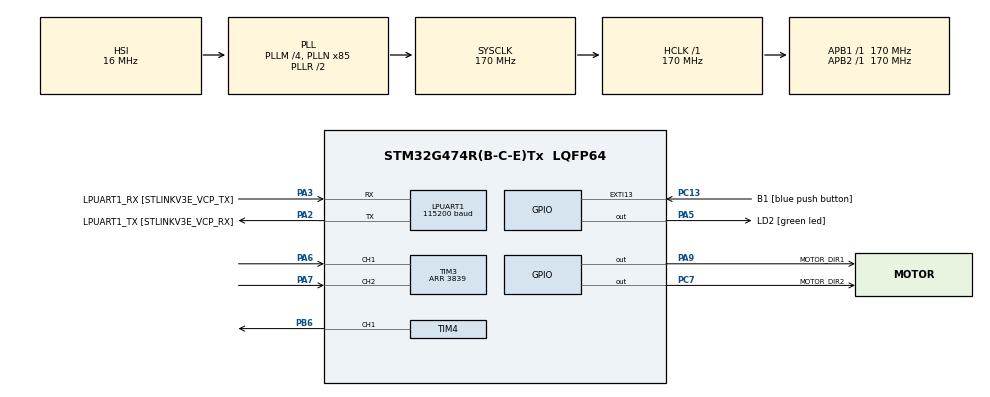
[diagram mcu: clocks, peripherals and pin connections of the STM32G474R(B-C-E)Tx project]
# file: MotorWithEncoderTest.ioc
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LPUART1.BaudRate=115200
Mcu.Family=STM32G4
Mcu.Name=STM32G474R(B-C-E)Tx
Mcu.Package=LQFP64
NVIC.EXTI15_10_IRQn=true\:0\:0\:false\:false\:true\:true\:true\:true
NVIC.PriorityGroup=NVIC_PRIORITYGROUP_4
NVIC.TIM1_UP_TIM16_IRQn=true\:0\:0\:false\:true\:true\:1\:true\:true\:true
PA13.GPIO_Label=T_SWDIO
PA13.Mode=Serial_Wire
PA13.Signal=SYS_JTMS-SWDIO
PA14.GPIO_Label=T_SWCLK
PA14.Mode=Serial_Wire
PA14.Signal=SYS_JTCK-SWCLK
PA2.GPIO_Label=LPUART1_TX [STLINKV3E_VCP_RX]
PA2.Mode=Asynchronous
PA2.Signal=LPUART1_TX
PA3.GPIO_Label=LPUART1_RX [STLINKV3E_VCP_TX]
PA3.Mode=Asynchronous
PA3.Signal=LPUART1_RX
PA5.GPIO_Label=LD2 [green led]
PA5.Signal=GPIO_Output
PA6.Signal=S_TIM3_CH1
PA7.Signal=S_TIM3_CH2
PA9.GPIO_Label=MOTOR_DIR1
PA9.Signal=GPIO_Output
PB3.GPIO_Label=T_SWO
PB3.Signal=SYS_JTDO-SWO
PB6.Signal=S_TIM4_CH1
PC13.GPIO_Label=B1 [blue push button]
PC13.Signal=GPXTI13
PC14-OSC32_IN.GPIO_Label=RCC_OSC32_IN
PC14-OSC32_IN.Mode=LSE-External-Oscillator
PC14-OSC32_IN.Signal=RCC_OSC32_IN
PC15-OSC32_OUT.GPIO_Label=RCC_OSC32_OUT
PC15-OSC32_OUT.Mode=LSE-External-Oscillator
PC15-OSC32_OUT.Signal=RCC_OSC32_OUT
PC7.GPIO_Label=MOTOR_DIR2
PC7.Signal=GPIO_Output
PF0-OSC_IN.GPIO_Label=RCC_OSC_IN
PF0-OSC_IN.Mode=HSE-External-Oscillator
PF0-OSC_IN.Signal=RCC_OSC_IN
PF1-OSC_OUT.GPIO_Label=RCC_OSC_OUT
PF1-OSC_OUT.Mode=HSE-External-Oscillator
PF1-OSC_OUT.Signal=RCC_OSC_OUT
ProjectManager.HeapSize=0x200
ProjectManager.StackSize=0x400
ProjectManager.TargetToolchain=STM32CubeIDE
RCC.ADC12Freq_Value=170000000
RCC.ADC345Freq_Value=170000000
RCC.AHBFreq_Value=170000000
RCC.APB1Freq_Value=170000000
RCC.APB1TimFreq_Value=170000000
RCC.APB2Freq_Value=170000000
RCC.APB2TimFreq_Value=170000000
RCC.CortexFreq_Value=170000000
RCC.EXTERNAL_CLOCK_VALUE=12288000
RCC.HCLKFreq_Value=170000000
RCC.HSE_VALUE=24000000
RCC.HSI48_VALUE=48000000
RCC.HSI_VALUE=16000000
RCC.PLLM=RCC_PLLM_DIV4
RCC.PLLN=85
RCC.RTCClockSelection=RCC_RTCCLKSOURCE_LSE
RCC.SYSCLKFreq_VALUE=170000000
RCC.SYSCLKSource=RCC_SYSCLKSOURCE_PLLCLK
RCC.USBFreq_Value=170000000
RCC.VCOOutputFreq_Value=340000000
SH.S_TIM3_CH1.0=TIM3_CH1,Encoder_Interface
SH.S_TIM3_CH2.0=TIM3_CH2,Encoder_Interface
SH.S_TIM4_CH1.0=TIM4_CH1,PWM Generation1 CH1
TIM1.PeriodNoDither=999
TIM1.Prescaler=16999
TIM3.IC1Filter=1
TIM3.IC2Filter=1
TIM3.PeriodNoDither=3839
TIM4.Channel-PWM\ Generation1\ CH1=TIM_CHANNEL_1
TIM4.PeriodNoDither=99
TIM4.Prescaler=1699
VP_SYS_VS_DBSignals.Mode=DisableDeadBatterySignals
VP_TIM1_VS_ClockSourceINT.Mode=Internal
VP_TIM4_VS_ClockSourceINT.Mode=Internal
board=NUCLEO-G474RE

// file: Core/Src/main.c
/* USER CODE BEGIN Header */
/**
  ******************************************************************************
  * @file           : main.c
  * @brief          : Main program body
  ******************************************************************************
  * @attention
  *
  * Copyright (c) 2025 STMicroelectronics.
  * All rights reserved.
  *
  * This software is licensed under terms that can be found in the LICENSE file
  * in the root directory of this software component.
  * If no LICENSE file comes with this software, it is provided AS-IS.
  *
  ******************************************************************************
  */
/* USER CODE END Header */
#include "main.h"
#include "usart.h"
#include "tim.h"
#include "gpio.h"

/* USER CODE BEGIN Includes */
#include "motor_simple.h"
#include "Encoder.h"
//#include "PID_Constant_Speed.h"
#include "PID.h"
#include "AverageFilter.h"
#include "string.h"
#include "stdio.h"
/* USER CODE END Includes */

/* USER CODE BEGIN PV */
//Motor Variables
Motor_t Motor;
int16_t PWM = 10;

//Encoder Variables
Encoder_t Encoder;
uint16_t EncoderResolution = 3840;
float EncoderSampleTime = 0.1;
float EncoderAngle = 0;
float EncoderAngularVelocity = 0;

PID_t PID_Speed;
float P = 28;
float I = 2.5;
float D = 0.8;

float AngularVelocitySet = 100.0;
float PID_SpeedSampleTime = 0.1;
float PID_MinValue = 0;
float PID_MaxValue = 100;

uint8_t flag = 0;

float PID_Output;
float PID_Output_Angle;

float MaxAngularVelocity = 960;

Average_t Average;
float PID_Output_Filtered;

char Message[128];

/* USER CODE END PV */

void SystemClock_Config(void);
static void MX_NVIC_Init(void);
/* USER CODE BEGIN PFP */
float MapValues(float MaxValue, float Value);

/* USER CODE END PFP */

int main(void)
{

  /* MCU Configuration--------------------------------------------------------*/

  /* Reset of all peripherals, Initializes the Flash interface and the Systick. */
  HAL_Init();

  /* USER CODE BEGIN Init */
  //MX_TIM4_Init();
// HAL_TIM_PWM_Start(&htim4, TIM_CHANNEL_1);

  /* USER CODE END Init */

  /* Configure the system clock */
  SystemClock_Config();

  /* Initialize all configured peripherals */
  MX_GPIO_Init();
  MX_LPUART1_UART_Init();
  MX_TIM4_Init();
  MX_TIM3_Init();
  MX_TIM1_Init();

  /* Initialize interrupts */
  MX_NVIC_Init();
  /* USER CODE BEGIN 2 */

  Motor_Init(&Motor, &htim4, TIM_CHANNEL_1, PWM, MOTOR_DIR1_GPIO_Port,  MOTOR_DIR1_Pin, MOTOR_DIR2_GPIO_Port,  MOTOR_DIR2_Pin);
  Encoder_Init(&Encoder, &htim3, EncoderResolution, EncoderSampleTime);
  HAL_TIM_Base_Start_IT(&htim1);

  PID_Init(&PID_Speed, P, I, D, PID_SpeedSampleTime, MaxAngularVelocity, PID_MinValue);

  Average_Init(&Average);

  /* USER CODE END 2 */

  /* Infinite loop */
  /* USER CODE BEGIN WHILE */
  while (1)
  {
	  /*
	  HAL_GPIO_WritePin(MOTOR_DIR1_GPIO_Port, MOTOR_DIR1_Pin, 1);
	  HAL_GPIO_WritePin(MOTOR_DIR2_GPIO_Port, MOTOR_DIR2_Pin, 0);
	  TIM4->CCR1 = 30;
	  HAL_TIM_PWM_Start(&htim4, TIM_CHANNEL_1);
	  HAL_Delay(3000);

	  HAL_GPIO_WritePin(MOTOR_DIR1_GPIO_Port, MOTOR_DIR1_Pin, 0);
	  HAL_GPIO_WritePin(MOTOR_DIR2_GPIO_Port, MOTOR_DIR2_Pin, 1);
	  TIM4->CCR1 = 80;
	  HAL_TIM_PWM_Start(&htim4, TIM_CHANNEL_1);
	  HAL_Delay(3000);
	  */

/*
	  Motor_SetRideParameters(&Motor, 100, 1);
	  Motor_Ride(&Motor);
	  HAL_Delay(5000);

	  Motor_SetRideParameters(&Motor, 50, 1);
	  Motor_Ride(&Motor);
	  HAL_Delay(5000);
*/

	  if (flag == 1)
	  {
		  flag = 0;
		  PID_Output = PID_Compute(&PID_Speed, EncoderAngularVelocity, AngularVelocitySet);

		  PID_Output_Filtered = Average_Calculate(&Average, PID_Output);

		  PID_Output_Angle = MapValues(960.0, PID_Output_Filtered);

		  Motor_SetRideParameters(&Motor, PID_Output_Angle, 1);

		  Motor_Ride(&Motor);

		  sprintf(Message, "%.3f \n", PID_Output_Filtered);
		  HAL_UART_Transmit(&hlpuart1, (uint8_t *) Message, strlen(Message), HAL_MAX_DELAY);
	  }

    /* USER CODE END WHILE */

  }
}

void SystemClock_Config(void)
{
  RCC_OscInitTypeDef RCC_OscInitStruct = {0};
  RCC_ClkInitTypeDef RCC_ClkInitStruct = {0};

  /** Configure the main internal regulator output voltage
  */
  HAL_PWREx_ControlVoltageScaling(PWR_REGULATOR_VOLTAGE_SCALE1_BOOST);

  /** Initializes the RCC Oscillators according to the specified parameters
  * in the RCC_OscInitTypeDef structure.
  */
  RCC_OscInitStruct.OscillatorType = RCC_OSCILLATORTYPE_HSI;
  RCC_OscInitStruct.HSIState = RCC_HSI_ON;
  RCC_OscInitStruct.HSICalibrationValue = RCC_HSICALIBRATION_DEFAULT;
  RCC_OscInitStruct.PLL.PLLState = RCC_PLL_ON;
  RCC_OscInitStruct.PLL.PLLSource = RCC_PLLSOURCE_HSI;
  RCC_OscInitStruct.PLL.PLLM = RCC_PLLM_DIV4;
  RCC_OscInitStruct.PLL.PLLN = 85;
  RCC_OscInitStruct.PLL.PLLP = RCC_PLLP_DIV2;
  RCC_OscInitStruct.PLL.PLLQ = RCC_PLLQ_DIV2;
  RCC_OscInitStruct.PLL.PLLR = RCC_PLLR_DIV2;
  if (HAL_RCC_OscConfig(&RCC_OscInitStruct) != HAL_OK)
  {
    Error_Handler();
  }

  /** Initializes the CPU, AHB and APB buses clocks
  */
  RCC_ClkInitStruct.ClockType = RCC_CLOCKTYPE_HCLK|RCC_CLOCKTYPE_SYSCLK
                              |RCC_CLOCKTYPE_PCLK1|RCC_CLOCKTYPE_PCLK2;
  RCC_ClkInitStruct.SYSCLKSource = RCC_SYSCLKSOURCE_PLLCLK;
  RCC_ClkInitStruct.AHBCLKDivider = RCC_SYSCLK_DIV1;
  RCC_ClkInitStruct.APB1CLKDivider = RCC_HCLK_DIV1;
  RCC_ClkInitStruct.APB2CLKDivider = RCC_HCLK_DIV1;

  if (HAL_RCC_ClockConfig(&RCC_ClkInitStruct, FLASH_LATENCY_4) != HAL_OK)
  {
    Error_Handler();
  }
}

/**
  * @brief NVIC Configuration.
  * @retval None
  */
static void MX_NVIC_Init(void)
{
  /* TIM1_UP_TIM16_IRQn interrupt configuration */
  HAL_NVIC_SetPriority(TIM1_UP_TIM16_IRQn, 0, 0);
  HAL_NVIC_EnableIRQ(TIM1_UP_TIM16_IRQn);
}

/* USER CODE BEGIN 4 */
float MapValues(float MaxValue, float Value)
{
	float X = (float)(Value * 100.0) / (float)MaxValue;
	return X;
}

void HAL_TIM_PeriodElapsedCallback(TIM_HandleTypeDef *htim)
{
	if(htim->Instance == TIM1)
	{
		//EncoderAngle = 0;
		//EncoderAngularVelocity = 0;
		Encoder_AngularVelocity(&Encoder, &EncoderAngle, &EncoderAngularVelocity);

		flag = 1;

	}
}
/* USER CODE END 4 */

void Error_Handler(void)
{
  __disable_irq();
  while (1)
  {
  }
}
